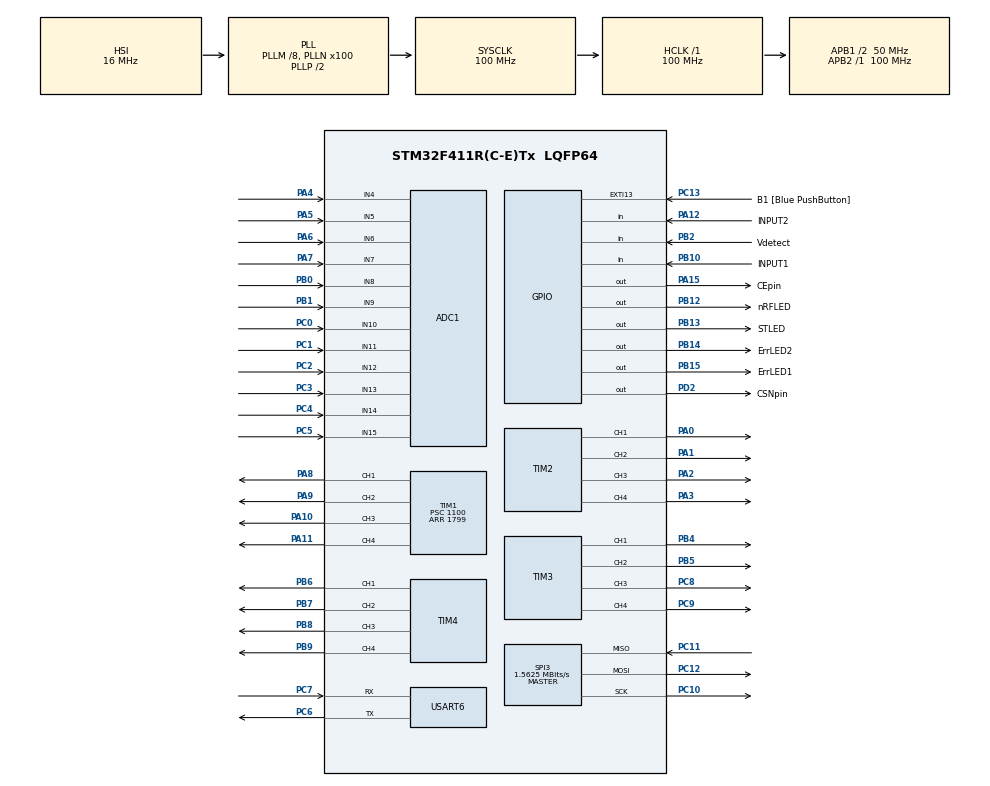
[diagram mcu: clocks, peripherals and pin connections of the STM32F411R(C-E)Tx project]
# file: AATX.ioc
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ADC1.Channel-10\#ChannelRegularConversion=ADC_CHANNEL_11
ADC1.Channel-11\#ChannelRegularConversion=ADC_CHANNEL_12
ADC1.Channel-12\#ChannelRegularConversion=ADC_CHANNEL_13
ADC1.Channel-13\#ChannelRegularConversion=ADC_CHANNEL_14
ADC1.Channel-14\#ChannelRegularConversion=ADC_CHANNEL_15
ADC1.Channel-3\#ChannelRegularConversion=ADC_CHANNEL_4
ADC1.Channel-4\#ChannelRegularConversion=ADC_CHANNEL_5
ADC1.Channel-5\#ChannelRegularConversion=ADC_CHANNEL_6
ADC1.Channel-6\#ChannelRegularConversion=ADC_CHANNEL_7
ADC1.Channel-7\#ChannelRegularConversion=ADC_CHANNEL_8
ADC1.Channel-8\#ChannelRegularConversion=ADC_CHANNEL_9
ADC1.Channel-9\#ChannelRegularConversion=ADC_CHANNEL_10
ADC1.NbrOfConversion=12
ADC1.NbrOfConversionFlag=1
ADC1.Rank-10\#ChannelRegularConversion=8
ADC1.Rank-11\#ChannelRegularConversion=9
ADC1.Rank-12\#ChannelRegularConversion=10
ADC1.Rank-13\#ChannelRegularConversion=11
ADC1.Rank-14\#ChannelRegularConversion=12
ADC1.Rank-3\#ChannelRegularConversion=1
ADC1.Rank-4\#ChannelRegularConversion=2
ADC1.Rank-5\#ChannelRegularConversion=3
ADC1.Rank-6\#ChannelRegularConversion=4
ADC1.Rank-7\#ChannelRegularConversion=5
ADC1.Rank-8\#ChannelRegularConversion=6
ADC1.Rank-9\#ChannelRegularConversion=7
ADC1.SamplingTime-10\#ChannelRegularConversion=ADC_SAMPLETIME_144CYCLES
ADC1.SamplingTime-11\#ChannelRegularConversion=ADC_SAMPLETIME_144CYCLES
ADC1.SamplingTime-12\#ChannelRegularConversion=ADC_SAMPLETIME_144CYCLES
ADC1.SamplingTime-13\#ChannelRegularConversion=ADC_SAMPLETIME_144CYCLES
ADC1.SamplingTime-14\#ChannelRegularConversion=ADC_SAMPLETIME_144CYCLES
ADC1.SamplingTime-3\#ChannelRegularConversion=ADC_SAMPLETIME_144CYCLES
ADC1.SamplingTime-4\#ChannelRegularConversion=ADC_SAMPLETIME_144CYCLES
ADC1.SamplingTime-5\#ChannelRegularConversion=ADC_SAMPLETIME_144CYCLES
ADC1.SamplingTime-6\#ChannelRegularConversion=ADC_SAMPLETIME_144CYCLES
ADC1.SamplingTime-7\#ChannelRegularConversion=ADC_SAMPLETIME_144CYCLES
ADC1.SamplingTime-8\#ChannelRegularConversion=ADC_SAMPLETIME_144CYCLES
ADC1.SamplingTime-9\#ChannelRegularConversion=ADC_SAMPLETIME_144CYCLES
ADC1.master=1
Mcu.Family=STM32F4
Mcu.Name=STM32F411R(C-E)Tx
Mcu.Package=LQFP64
NVIC.PriorityGroup=NVIC_PRIORITYGROUP_4
NVIC.USART6_IRQn=true\:0\:0\:false\:false\:true\:true\:true\:true
PA0-WKUP.Signal=S_TIM2_CH1_ETR
PA1.Signal=S_TIM2_CH2
PA10.Signal=S_TIM1_CH3
PA11.Signal=S_TIM1_CH4
PA12.GPIO_Label=INPUT2
PA12.Signal=GPIO_Input
PA13.GPIO_Label=TMS
PA13.Mode=Serial_Wire
PA13.Signal=SYS_JTMS-SWDIO
PA14.GPIO_Label=TCK
PA14.Mode=Serial_Wire
PA14.Signal=SYS_JTCK-SWCLK
PA15.GPIO_Label=CEpin
PA15.Signal=GPIO_Output
PA2.Signal=S_TIM2_CH3
PA3.Signal=S_TIM2_CH4
PA4.Signal=ADCx_IN4
PA5.Signal=ADCx_IN5
PA6.Signal=ADCx_IN6
PA7.Signal=ADCx_IN7
PA8.Signal=S_TIM1_CH1
PA9.Signal=S_TIM1_CH2
PB0.Signal=ADCx_IN8
PB1.Signal=ADCx_IN9
PB10.GPIO_Label=INPUT1
PB10.Signal=GPIO_Input
PB12.GPIO_Label=nRFLED
PB12.Signal=GPIO_Output
PB13.GPIO_Label=STLED
PB13.Signal=GPIO_Output
PB14.GPIO_Label=ErrLED2
PB14.Signal=GPIO_Output
PB15.GPIO_Label=ErrLED1
PB15.Signal=GPIO_Output
PB2.GPIO_Label=Vdetect
PB2.Signal=GPIO_Input
PB3.GPIO_Label=SWO
PB3.Signal=SYS_JTDO-SWO
PB4.Signal=S_TIM3_CH1
PB5.Signal=S_TIM3_CH2
PB6.Signal=S_TIM4_CH1
PB7.Signal=S_TIM4_CH2
PB8.Signal=S_TIM4_CH3
PB9.Signal=S_TIM4_CH4
PC0.Signal=ADCx_IN10
PC1.Signal=ADCx_IN11
PC10.Mode=Full_Duplex_Master
PC10.Signal=SPI3_SCK
PC11.Mode=Full_Duplex_Master
PC11.Signal=SPI3_MISO
PC12.Mode=Full_Duplex_Master
PC12.Signal=SPI3_MOSI
PC13-ANTI_TAMP.GPIO_Label=B1 [Blue PushButton]
PC13-ANTI_TAMP.GPIO_ModeDefaultEXTI=GPIO_MODE_IT_FALLING
PC13-ANTI_TAMP.Signal=GPXTI13
PC14-OSC32_IN.Mode=LSE-External-Oscillator
PC14-OSC32_IN.Signal=RCC_OSC32_IN
PC15-OSC32_OUT.Mode=LSE-External-Oscillator
PC15-OSC32_OUT.Signal=RCC_OSC32_OUT
PC2.Signal=ADCx_IN12
PC3.Signal=ADCx_IN13
PC4.Signal=ADCx_IN14
PC5.Signal=ADCx_IN15
PC6.Mode=Asynchronous
PC6.Signal=USART6_TX
PC7.Mode=Asynchronous
PC7.Signal=USART6_RX
PC8.Signal=S_TIM3_CH3
PC9.Signal=S_TIM3_CH4
PD2.GPIO_Label=CSNpin
PD2.Signal=GPIO_Output
PH0\ -\ OSC_IN.Mode=HSE-External-Clock-Source
PH0\ -\ OSC_IN.Signal=RCC_OSC_IN
PH1\ -\ OSC_OUT.Mode=HSE-External-Clock-Source
PH1\ -\ OSC_OUT.Signal=RCC_OSC_OUT
ProjectManager.HeapSize=0x200
ProjectManager.StackSize=0x400
ProjectManager.TargetToolchain=STM32CubeIDE
RCC.48MHZClocksFreq_Value=50000000
RCC.AHBFreq_Value=100000000
RCC.APB1CLKDivider=RCC_HCLK_DIV2
RCC.APB1Freq_Value=50000000
RCC.APB1TimFreq_Value=100000000
RCC.APB2Freq_Value=100000000
RCC.APB2TimFreq_Value=100000000
RCC.CortexFreq_Value=100000000
RCC.FLatency-AdvancedSettings=FLASH_LATENCY_3
RCC.HCLKFreq_Value=100000000
RCC.HSE_VALUE=8000000
RCC.HSI_VALUE=16000000
RCC.PLLM=8
RCC.PLLN=100
RCC.SYSCLKFreq_VALUE=100000000
RCC.SYSCLKSource=RCC_SYSCLKSOURCE_PLLCLK
RCC.VCOOutputFreq_Value=200000000
SH.ADCx_IN10.0=ADC1_IN10,IN10
SH.ADCx_IN11.0=ADC1_IN11,IN11
SH.ADCx_IN12.0=ADC1_IN12,IN12
SH.ADCx_IN13.0=ADC1_IN13,IN13
SH.ADCx_IN14.0=ADC1_IN14,IN14
SH.ADCx_IN15.0=ADC1_IN15,IN15
SH.ADCx_IN4.0=ADC1_IN4,IN4
SH.ADCx_IN5.0=ADC1_IN5,IN5
SH.ADCx_IN6.0=ADC1_IN6,IN6
SH.ADCx_IN7.0=ADC1_IN7,IN7
SH.ADCx_IN8.0=ADC1_IN8,IN8
SH.ADCx_IN9.0=ADC1_IN9,IN9
SH.S_TIM1_CH1.0=TIM1_CH1,PWM Generation1 CH1
SH.S_TIM1_CH2.0=TIM1_CH2,PWM Generation2 CH2
SH.S_TIM1_CH3.0=TIM1_CH3,PWM Generation3 CH3
SH.S_TIM1_CH4.0=TIM1_CH4,PWM Generation4 CH4
SH.S_TIM2_CH1_ETR.0=TIM2_CH1,PWM Generation1 CH1
SH.S_TIM2_CH2.0=TIM2_CH2,PWM Generation2 CH2
SH.S_TIM2_CH3.0=TIM2_CH3,PWM Generation3 CH3
SH.S_TIM2_CH4.0=TIM2_CH4,PWM Generation4 CH4
SH.S_TIM3_CH1.0=TIM3_CH1,PWM Generation1 CH1
SH.S_TIM3_CH2.0=TIM3_CH2,PWM Generation2 CH2
SH.S_TIM3_CH3.0=TIM3_CH3,PWM Generation3 CH3
SH.S_TIM3_CH4.0=TIM3_CH4,PWM Generation4 CH4
SH.S_TIM4_CH1.0=TIM4_CH1,PWM Generation1 CH1
SH.S_TIM4_CH2.0=TIM4_CH2,PWM Generation2 CH2
SH.S_TIM4_CH3.0=TIM4_CH3,PWM Generation3 CH3
SH.S_TIM4_CH4.0=TIM4_CH4,PWM Generation4 CH4
SPI3.BaudRatePrescaler=SPI_BAUDRATEPRESCALER_32
SPI3.CalculateBaudRate=1.5625 MBits/s
SPI3.Direction=SPI_DIRECTION_2LINES
SPI3.Mode=SPI_MODE_MASTER
SPI3.VirtualType=VM_MASTER
TIM1.Channel-PWM\ Generation1\ CH1=TIM_CHANNEL_1
TIM1.Channel-PWM\ Generation2\ CH2=TIM_CHANNEL_2
TIM1.Channel-PWM\ Generation3\ CH3=TIM_CHANNEL_3
TIM1.Channel-PWM\ Generation4\ CH4=TIM_CHANNEL_4
TIM1.Period=1799
TIM1.Prescaler=1100
TIM2.Channel-PWM\ Generation1\ CH1=TIM_CHANNEL_1
TIM2.Channel-PWM\ Generation2\ CH2=TIM_CHANNEL_2
TIM2.Channel-PWM\ Generation3\ CH3=TIM_CHANNEL_3
TIM2.Channel-PWM\ Generation4\ CH4=TIM_CHANNEL_4
TIM3.Channel-PWM\ Generation1\ CH1=TIM_CHANNEL_1
TIM3.Channel-PWM\ Generation2\ CH2=TIM_CHANNEL_2
TIM3.Channel-PWM\ Generation3\ CH3=TIM_CHANNEL_3
TIM3.Channel-PWM\ Generation4\ CH4=TIM_CHANNEL_4
TIM4.Channel-PWM\ Generation1\ CH1=TIM_CHANNEL_1
TIM4.Channel-PWM\ Generation2\ CH2=TIM_CHANNEL_2
TIM4.Channel-PWM\ Generation3\ CH3=TIM_CHANNEL_3
TIM4.Channel-PWM\ Generation4\ CH4=TIM_CHANNEL_4
USART6.VirtualMode=VM_ASYNC
board=NUCLEO-F411RE

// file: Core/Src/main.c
/* USER CODE BEGIN Header */
/**
  ******************************************************************************
  * @file           : main.c
  * @brief          : Main program body
  ******************************************************************************
  * @attention
  *
  * Copyright (c) 2022 STMicroelectronics.
  * All rights reserved.
  *
  * This software is licensed under terms that can be found in the LICENSE file
  * in the root directory of this software component.
  * If no LICENSE file comes with this software, it is provided AS-IS.
  *
  ******************************************************************************
  */
/* USER CODE END Header */
#include "main.h"

/* USER CODE BEGIN Includes */
#include "MY_NRF24.h"
#include "stdio.h"

/* USER CODE END Includes */

/* USER CODE BEGIN PTD */

 //uint8_t DEGER[1];
//uint8_t PAYLOAD[1];
/* USER CODE END PTD */

/* USER CODE BEGIN PD */
float IIR_FILTER_CH4(float NewSample);
float IIR_FILTER_CH5(float NewSample);
float IIR_FILTER_CH6(float NewSample);
float IIR_FILTER_CH7(float NewSample);
float IIR_FILTER_CH8(float NewSample);
float IIR_FILTER_CH9(float NewSample);
float IIR_FILTER_CH10(float NewSample);
float IIR_FILTER_CH11(float NewSample);
float IIR_FILTER_CH12(float NewSample);
float IIR_FILTER_CH13(float NewSample);
float IIR_FILTER_CH14(float NewSample);
float IIR_FILTER_CH15(float NewSample);

uint64_t TxpipeAddrs = 0x11223344AA;
uint8_t FILTERED_PWM[12];
uint8_t ADC_DEGER[20];
char AckPayload[32];

struct package
  {
    uint8_t POT_1 ;
    uint8_t POT_2;
    uint8_t POT_3;
    uint8_t POT_4;
    uint8_t POT_5;
    uint8_t POT_6;
    uint8_t POT_7;
    uint8_t POT_8;
    uint8_t POT_9;
    uint8_t POT_10;
    uint8_t POT_11;
    uint8_t POT_12;
    uint8_t POT_13;
    uint8_t VOLTAGE;
    uint8_t OVERWRITE;
  };
typedef struct package Package;
Package data;
/* USER CODE END PD */

ADC_HandleTypeDef hadc1;

SPI_HandleTypeDef hspi3;

TIM_HandleTypeDef htim1;
TIM_HandleTypeDef htim2;
TIM_HandleTypeDef htim3;
TIM_HandleTypeDef htim4;

UART_HandleTypeDef huart6;

void SystemClock_Config(void);
static void MX_GPIO_Init(void);
static void MX_ADC1_Init(void);
static void MX_SPI3_Init(void);
static void MX_TIM1_Init(void);
static void MX_TIM2_Init(void);
static void MX_TIM3_Init(void);
static void MX_TIM4_Init(void);
static void MX_USART6_UART_Init(void);

/* USER CODE BEGIN 0 */
ADC_ChannelConfTypeDef sConfigPrivate = {0};

void ADC_Select_CH4 (void)
{
	ADC_ChannelConfTypeDef sConfig = {0};
	  /** Configure for the selected ADC regular channel its corresponding rank in the sequencer and its sample time.
	  */
	  sConfig.Channel = ADC_CHANNEL_4;
	  sConfig.Rank = 1;
	  sConfig.SamplingTime = ADC_SAMPLETIME_144CYCLES;
	  if (HAL_ADC_ConfigChannel(&hadc1, &sConfig) != HAL_OK)
	  {
	    Error_Handler();
	  }
}

void ADC_Select_CH5 (void)
{
	ADC_ChannelConfTypeDef sConfig = {0};
	  /** Configure for the selected ADC regular channel its corresponding rank in the sequencer and its sample time.
	  */
	  sConfig.Channel = ADC_CHANNEL_5;
	  sConfig.Rank = 1;
	  sConfig.SamplingTime = ADC_SAMPLETIME_144CYCLES;
	  if (HAL_ADC_ConfigChannel(&hadc1, &sConfig) != HAL_OK)
	  {
	    Error_Handler();
	  }
}
void ADC_Select_CH6 (void)
{
	ADC_ChannelConfTypeDef sConfig = {0};
	  /** Configure for the selected ADC regular channel its corresponding rank in the sequencer and its sample time.
	  */
	  sConfig.Channel = ADC_CHANNEL_6;
	  sConfig.Rank = 1;
	  sConfig.SamplingTime = ADC_SAMPLETIME_144CYCLES;
	  if (HAL_ADC_ConfigChannel(&hadc1, &sConfig) != HAL_OK)
	  {
	    Error_Handler();
	  }
}
void ADC_Select_CH7 (void)
{
	ADC_ChannelConfTypeDef sConfig = {0};
	  /** Configure for the selected ADC regular channel its corresponding rank in the sequencer and its sample time.
	  */
	  sConfig.Channel = ADC_CHANNEL_7;
	  sConfig.Rank = 1;
	  sConfig.SamplingTime = ADC_SAMPLETIME_144CYCLES;
	  if (HAL_ADC_ConfigChannel(&hadc1, &sConfig) != HAL_OK)
	  {
	    Error_Handler();
	  }
}
void ADC_Select_CH8 (void)
{
	ADC_ChannelConfTypeDef sConfig = {0};
	  /** Configure for the selected ADC regular channel its corresponding rank in the sequencer and its sample time.
	  */
	  sConfig.Channel = ADC_CHANNEL_8;
	  sConfig.Rank = 1;
	  sConfig.SamplingTime = ADC_SAMPLETIME_144CYCLES;
	  if (HAL_ADC_ConfigChannel(&hadc1, &sConfig) != HAL_OK)
	  {
	    Error_Handler();
	  }
}

void ADC_Select_CH9 (void)
{
	ADC_ChannelConfTypeDef sConfig = {0};
	  /** Configure for the selected ADC regular channel its corresponding rank in the sequencer and its sample time.
	  */
	  sConfig.Channel = ADC_CHANNEL_9;
	  sConfig.Rank = 1;
	  sConfig.SamplingTime = ADC_SAMPLETIME_144CYCLES;
	  if (HAL_ADC_ConfigChannel(&hadc1, &sConfig) != HAL_OK)
	  {
	    Error_Handler();
	  }
}
void ADC_Select_CH10 (void)
{
	ADC_ChannelConfTypeDef sConfig = {0};
	  /** Configure for the selected ADC regular channel its corresponding rank in the sequencer and its sample time.
	  */
	  sConfig.Channel = ADC_CHANNEL_10;
	  sConfig.Rank = 1;
	  sConfig.SamplingTime = ADC_SAMPLETIME_144CYCLES;
	  if (HAL_ADC_ConfigChannel(&hadc1, &sConfig) != HAL_OK)
	  {
	    Error_Handler();
	  }
}
void ADC_Select_CH11 (void)
{
	ADC_ChannelConfTypeDef sConfig = {0};
	  /** Configure for the selected ADC regular channel its corresponding rank in the sequencer and its sample time.
	  */
	  sConfig.Channel = ADC_CHANNEL_11;
	  sConfig.Rank = 1;
	  sConfig.SamplingTime = ADC_SAMPLETIME_144CYCLES;
	  if (HAL_ADC_ConfigChannel(&hadc1, &sConfig) != HAL_OK)
	  {
	    Error_Handler();
	  }
}
void ADC_Select_CH12 (void)
{
	ADC_ChannelConfTypeDef sConfig = {0};
	  /** Configure for the selected ADC regular channel its corresponding rank in the sequencer and its sample time.
	  */
	  sConfig.Channel = ADC_CHANNEL_12;
	  sConfig.Rank = 1;
	  sConfig.SamplingTime = ADC_SAMPLETIME_144CYCLES;
	  if (HAL_ADC_ConfigChannel(&hadc1, &sConfig) != HAL_OK)
	  {
	    Error_Handler();
	  }
}
void ADC_Select_CH13 (void)
{
	ADC_ChannelConfTypeDef sConfig = {0};
	  /** Configure for the selected ADC regular channel its corresponding rank in the sequencer and its sample time.
	  */
	  sConfig.Channel = ADC_CHANNEL_13;
	  sConfig.Rank = 1;
	  sConfig.SamplingTime = ADC_SAMPLETIME_144CYCLES;
	  if (HAL_ADC_ConfigChannel(&hadc1, &sConfig) != HAL_OK)
	  {
	    Error_Handler();
	  }
}
void ADC_Select_CH14 (void)
{
	ADC_ChannelConfTypeDef sConfig = {0};
	  /** Configure for the selected ADC regular channel its corresponding rank in the sequencer and its sample time.
	  */
	  sConfig.Channel = ADC_CHANNEL_14;
	  sConfig.Rank = 1;
	  sConfig.SamplingTime = ADC_SAMPLETIME_144CYCLES;
	  if (HAL_ADC_ConfigChannel(&hadc1, &sConfig) != HAL_OK)
	  {
	    Error_Handler();
	  }
}
void ADC_Select_CH15 (void)
{
	ADC_ChannelConfTypeDef sConfig = {0};
	  /** Configure for the selected ADC regular channel its corresponding rank in the sequencer and its sample time.
	  */
	  sConfig.Channel = ADC_CHANNEL_15;
	  sConfig.Rank = 1;
	  sConfig.SamplingTime = ADC_SAMPLETIME_144CYCLES;
	  if (HAL_ADC_ConfigChannel(&hadc1, &sConfig) != HAL_OK)
	  {
	    Error_Handler();
	  }
}
void Read_Adc(){

		  ADC_Select_CH4();
		  HAL_ADC_Start(&hadc1);
		  HAL_ADC_PollForConversion(&hadc1, 1000);
		  data.POT_1 = HAL_ADC_GetValue(&hadc1) / 17;
		  HAL_ADC_Stop(&hadc1);

		  ADC_Select_CH5();
		  HAL_ADC_Start(&hadc1);
		  HAL_ADC_PollForConversion(&hadc1, 1000);
		  data.POT_2 = HAL_ADC_GetValue(&hadc1) /17;
		  HAL_ADC_Stop(&hadc1);

		  ADC_Select_CH6();
		  HAL_ADC_Start(&hadc1);
		  HAL_ADC_PollForConversion(&hadc1, 1000);
		  data.POT_3 = HAL_ADC_GetValue(&hadc1) / 17;
		  HAL_ADC_Stop(&hadc1);

		  ADC_Select_CH7();
		  HAL_ADC_Start(&hadc1);
		  HAL_ADC_PollForConversion(&hadc1, 1000);
		  data.POT_4 = HAL_ADC_GetValue(&hadc1) / 17;
		  HAL_ADC_Stop(&hadc1);

		  ADC_Select_CH8();
		  HAL_ADC_Start(&hadc1);
		  HAL_ADC_PollForConversion(&hadc1, 1000);
		  data.POT_5 = HAL_ADC_GetValue(&hadc1) / 17;
		  HAL_ADC_Stop(&hadc1);

		  ADC_Select_CH9();
		  HAL_ADC_Start(&hadc1);
		  HAL_ADC_PollForConversion(&hadc1, 1000);
		  data.POT_6 = HAL_ADC_GetValue(&hadc1) / 17;
		  HAL_ADC_Stop(&hadc1);

		  ADC_Select_CH10();
		  HAL_ADC_Start(&hadc1);
		  HAL_ADC_PollForConversion(&hadc1, 1000);
		  data.POT_7 = HAL_ADC_GetValue(&hadc1) / 17;
		  HAL_ADC_Stop(&hadc1);

		  ADC_Select_CH11();
		  HAL_ADC_Start(&hadc1);
		  HAL_ADC_PollForConversion(&hadc1, 1000);
		  data.POT_8 = HAL_ADC_GetValue(&hadc1) / 17;
		  HAL_ADC_Stop(&hadc1);

		  ADC_Select_CH12();
		  HAL_ADC_Start(&hadc1);
		  HAL_ADC_PollForConversion(&hadc1, 1000);
		  data.POT_9 = HAL_ADC_GetValue(&hadc1) / 17;
		  HAL_ADC_Stop(&hadc1);

		  ADC_Select_CH13();
		  HAL_ADC_Start(&hadc1);
		  HAL_ADC_PollForConversion(&hadc1, 1000);
		  data.POT_10 = HAL_ADC_GetValue(&hadc1) / 17;
		  HAL_ADC_Stop(&hadc1);

		  ADC_Select_CH14();
		  HAL_ADC_Start(&hadc1);
		  HAL_ADC_PollForConversion(&hadc1, 1000);
		  data.POT_11 = HAL_ADC_GetValue(&hadc1) / 17;
		  HAL_ADC_Stop(&hadc1);

		  ADC_Select_CH15();
		  HAL_ADC_Start(&hadc1);
		  HAL_ADC_PollForConversion(&hadc1, 1000);
		  data.POT_12 = HAL_ADC_GetValue(&hadc1) / 17;
		  HAL_ADC_Stop(&hadc1);

		  }

void Compute_PWM(){
	memcpy(ADC_DEGER,&data,12);
	FILTERED_PWM[0] = IIR_FILTER_CH4(ADC_DEGER[0]);
	FILTERED_PWM[1] = IIR_FILTER_CH5(ADC_DEGER[1]);
	FILTERED_PWM[2] = IIR_FILTER_CH6(ADC_DEGER[2]);
	FILTERED_PWM[3] = IIR_FILTER_CH7(ADC_DEGER[3]);
	FILTERED_PWM[4] = IIR_FILTER_CH8(ADC_DEGER[4]);
	FILTERED_PWM[5] = IIR_FILTER_CH9(ADC_DEGER[5]);
	FILTERED_PWM[6] = IIR_FILTER_CH10(ADC_DEGER[6]);
	FILTERED_PWM[7] = IIR_FILTER_CH11(ADC_DEGER[7]);
	FILTERED_PWM[8] = IIR_FILTER_CH12(ADC_DEGER[8]);
	FILTERED_PWM[9] = IIR_FILTER_CH13(ADC_DEGER[9]);
	FILTERED_PWM[10]= IIR_FILTER_CH14(ADC_DEGER[10]);
	FILTERED_PWM[11]= IIR_FILTER_CH15(ADC_DEGER[11]);
	for(int i = 0 ; i<=11 ; i++){
	if( FILTERED_PWM[i] <= 33){
		FILTERED_PWM[i] = 33;
		}
	if(FILTERED_PWM[i] >= 220){
		FILTERED_PWM[i] = 220;
	}
}

	__HAL_TIM_SET_COMPARE(&htim1, TIM_CHANNEL_2, FILTERED_PWM[1]);
	HAL_Delay(10);

}

/* USER CODE END 0 */

int main(void)
{

  /* MCU Configuration--------------------------------------------------------*/

  /* Reset of all peripherals, Initializes the Flash interface and the Systick. */
  HAL_Init();

  /* Configure the system clock */
  SystemClock_Config();

  /* Initialize all configured peripherals */
  MX_GPIO_Init();
  MX_ADC1_Init();
  MX_SPI3_Init();
  MX_TIM1_Init();
  MX_TIM2_Init();
  MX_TIM3_Init();
  MX_TIM4_Init();
  MX_USART6_UART_Init();
  /* USER CODE BEGIN 2 */
  HAL_ADC_Start(&hadc1);
  HAL_TIM_PWM_Start(&htim1,TIM_CHANNEL_1);
  HAL_TIM_PWM_Start(&htim1,TIM_CHANNEL_2);
  //HAL_ADC_Start_DMA(&hadc1,ADC_DEGER,1);

  	//**** TRANSMIT - ACK ****//
  	NRF24_begin(GPIOD, CSNpin_Pin, CEpin_Pin, hspi3);
  	NRF24_stopListening();
  	NRF24_openWritingPipe(TxpipeAddrs);
  	NRF24_setAutoAck(true);
  	NRF24_setChannel(52);
  	NRF24_setPayloadSize(32);
  	NRF24_enableDynamicPayloads();
  	NRF24_enableAckPayload();
  /* USER CODE END 2 */

  /* Infinite loop */
  while (1)
  {

    /* USER CODE BEGIN 3 */
	  Read_Adc();
	  if(NRF24_write(&data,sizeof(data)))
	  	    {
	  			NRF24_read(AckPayload, 32);
	  		}
	  Compute_PWM();

	  HAL_Delay(1);
  }
  /* USER CODE END 3 */
}

void SystemClock_Config(void)
{
  RCC_OscInitTypeDef RCC_OscInitStruct = {0};
  RCC_ClkInitTypeDef RCC_ClkInitStruct = {0};

  /** Configure the main internal regulator output voltage
  */
  __HAL_RCC_PWR_CLK_ENABLE();
  __HAL_PWR_VOLTAGESCALING_CONFIG(PWR_REGULATOR_VOLTAGE_SCALE1);

  /** Initializes the RCC Oscillators according to the specified parameters
  * in the RCC_OscInitTypeDef structure.
  */
  RCC_OscInitStruct.OscillatorType = RCC_OSCILLATORTYPE_HSI;
  RCC_OscInitStruct.HSIState = RCC_HSI_ON;
  RCC_OscInitStruct.HSICalibrationValue = RCC_HSICALIBRATION_DEFAULT;
  RCC_OscInitStruct.PLL.PLLState = RCC_PLL_ON;
  RCC_OscInitStruct.PLL.PLLSource = RCC_PLLSOURCE_HSI;
  RCC_OscInitStruct.PLL.PLLM = 8;
  RCC_OscInitStruct.PLL.PLLN = 100;
  RCC_OscInitStruct.PLL.PLLP = RCC_PLLP_DIV2;
  RCC_OscInitStruct.PLL.PLLQ = 4;
  if (HAL_RCC_OscConfig(&RCC_OscInitStruct) != HAL_OK)
  {
    Error_Handler();
  }

  /** Initializes the CPU, AHB and APB buses clocks
  */
  RCC_ClkInitStruct.ClockType = RCC_CLOCKTYPE_HCLK|RCC_CLOCKTYPE_SYSCLK
                              |RCC_CLOCKTYPE_PCLK1|RCC_CLOCKTYPE_PCLK2;
  RCC_ClkInitStruct.SYSCLKSource = RCC_SYSCLKSOURCE_PLLCLK;
  RCC_ClkInitStruct.AHBCLKDivider = RCC_SYSCLK_DIV1;
  RCC_ClkInitStruct.APB1CLKDivider = RCC_HCLK_DIV2;
  RCC_ClkInitStruct.APB2CLKDivider = RCC_HCLK_DIV1;

  if (HAL_RCC_ClockConfig(&RCC_ClkInitStruct, FLASH_LATENCY_3) != HAL_OK)
  {
    Error_Handler();
  }
}

static void MX_ADC1_Init(void)
{

  ADC_ChannelConfTypeDef sConfig = {0};

  /** Configure the global features of the ADC (Clock, Resolution, Data Alignment and number of conversion)
  */
  hadc1.Instance = ADC1;
  hadc1.Init.ClockPrescaler = ADC_CLOCK_SYNC_PCLK_DIV4;
  hadc1.Init.Resolution = ADC_RESOLUTION_12B;
  hadc1.Init.ScanConvMode = ENABLE;
  hadc1.Init.ContinuousConvMode = DISABLE;
  hadc1.Init.DiscontinuousConvMode = DISABLE;
  hadc1.Init.ExternalTrigConvEdge = ADC_EXTERNALTRIGCONVEDGE_NONE;
  hadc1.Init.ExternalTrigConv = ADC_SOFTWARE_START;
  hadc1.Init.DataAlign = ADC_DATAALIGN_RIGHT;
  hadc1.Init.NbrOfConversion = 12;
  hadc1.Init.DMAContinuousRequests = DISABLE;
  hadc1.Init.EOCSelection = ADC_EOC_SINGLE_CONV;
  if (HAL_ADC_Init(&hadc1) != HAL_OK)
  {
    Error_Handler();
  }

  /** Configure for the selected ADC regular channel its corresponding rank in the sequencer and its sample time.
  */
  sConfig.Channel = ADC_CHANNEL_4;
  sConfig.Rank = 1;
  sConfig.SamplingTime = ADC_SAMPLETIME_144CYCLES;
  if (HAL_ADC_ConfigChannel(&hadc1, &sConfig) != HAL_OK)
  {
    Error_Handler();
  }

  /** Configure for the selected ADC regular channel its corresponding rank in the sequencer and its sample time.
  */
  sConfig.Channel = ADC_CHANNEL_5;
  sConfig.Rank = 2;
  if (HAL_ADC_ConfigChannel(&hadc1, &sConfig) != HAL_OK)
  {
    Error_Handler();
  }

  /** Configure for the selected ADC regular channel its corresponding rank in the sequencer and its sample time.
  */
  sConfig.Channel = ADC_CHANNEL_6;
  sConfig.Rank = 3;
  if (HAL_ADC_ConfigChannel(&hadc1, &sConfig) != HAL_OK)
  {
    Error_Handler();
  }

  /** Configure for the selected ADC regular channel its corresponding rank in the sequencer and its sample time.
  */
  sConfig.Channel = ADC_CHANNEL_7;
  sConfig.Rank = 4;
  if (HAL_ADC_ConfigChannel(&hadc1, &sConfig) != HAL_OK)
  {
    Error_Handler();
  }

  /** Configure for the selected ADC regular channel its corresponding rank in the sequencer and its sample time.
  */
  sConfig.Channel = ADC_CHANNEL_8;
  sConfig.Rank = 5;
  if (HAL_ADC_ConfigChannel(&hadc1, &sConfig) != HAL_OK)
  {
    Error_Handler();
  }

  /** Configure for the selected ADC regular channel its corresponding rank in the sequencer and its sample time.
  */
  sConfig.Channel = ADC_CHANNEL_9;
  sConfig.Rank = 6;
  if (HAL_ADC_ConfigChannel(&hadc1, &sConfig) != HAL_OK)
  {
    Error_Handler();
  }

  /** Configure for the selected ADC regular channel its corresponding rank in the sequencer and its sample time.
  */
  sConfig.Channel = ADC_CHANNEL_10;
  sConfig.Rank = 7;
  if (HAL_ADC_ConfigChannel(&hadc1, &sConfig) != HAL_OK)
  {
    Error_Handler();
  }

  /** Configure for the selected ADC regular channel its corresponding rank in the sequencer and its sample time.
  */
  sConfig.Channel = ADC_CHANNEL_11;
  sConfig.Rank = 8;
  if (HAL_ADC_ConfigChannel(&hadc1, &sConfig) != HAL_OK)
  {
    Error_Handler();
  }

  /** Configure for the selected ADC regular channel its corresponding rank in the sequencer and its sample time.
  */
  sConfig.Channel = ADC_CHANNEL_12;
  sConfig.Rank = 9;
  if (HAL_ADC_ConfigChannel(&hadc1, &sConfig) != HAL_OK)
  {
    Error_Handler();
  }

  /** Configure for the selected ADC regular channel its corresponding rank in the sequencer and its sample time.
  */
  sConfig.Channel = ADC_CHANNEL_13;
  sConfig.Rank = 10;
  if (HAL_ADC_ConfigChannel(&hadc1, &sConfig) != HAL_OK)
  {
    Error_Handler();
  }

  /** Configure for the selected ADC regular channel its corresponding rank in the sequencer and its sample time.
  */
  sConfig.Channel = ADC_CHANNEL_14;
  sConfig.Rank = 11;
  if (HAL_ADC_ConfigChannel(&hadc1, &sConfig) != HAL_OK)
  {
    Error_Handler();
  }

  /** Configure for the selected ADC regular channel its corresponding rank in the sequencer and its sample time.
  */
  sConfig.Channel = ADC_CHANNEL_15;
  sConfig.Rank = 12;
  if (HAL_ADC_ConfigChannel(&hadc1, &sConfig) != HAL_OK)
  {
    Error_Handler();
  }

}

static void MX_SPI3_Init(void)
{

  /* SPI3 parameter configuration*/
  hspi3.Instance = SPI3;
  hspi3.Init.Mode = SPI_MODE_MASTER;
  hspi3.Init.Direction = SPI_DIRECTION_2LINES;
  hspi3.Init.DataSize = SPI_DATASIZE_8BIT;
  hspi3.Init.CLKPolarity = SPI_POLARITY_LOW;
  hspi3.Init.CLKPhase = SPI_PHASE_1EDGE;
  hspi3.Init.NSS = SPI_NSS_SOFT;
  hspi3.Init.BaudRatePrescaler = SPI_BAUDRATEPRESCALER_32;
  hspi3.Init.FirstBit = SPI_FIRSTBIT_MSB;
  hspi3.Init.TIMode = SPI_TIMODE_DISABLE;
  hspi3.Init.CRCCalculation = SPI_CRCCALCULATION_DISABLE;
  hspi3.Init.CRCPolynomial = 10;
  if (HAL_SPI_Init(&hspi3) != HAL_OK)
  {
    Error_Handler();
  }

}

static void MX_TIM1_Init(void)
{

  TIM_MasterConfigTypeDef sMasterConfig = {0};
  TIM_OC_InitTypeDef sConfigOC = {0};
  TIM_BreakDeadTimeConfigTypeDef sBreakDeadTimeConfig = {0};

  htim1.Instance = TIM1;
  htim1.Init.Prescaler = 1100;
  htim1.Init.CounterMode = TIM_COUNTERMODE_UP;
  htim1.Init.Period = 1799;
  htim1.Init.ClockDivision = TIM_CLOCKDIVISION_DIV1;
  htim1.Init.RepetitionCounter = 0;
  htim1.Init.AutoReloadPreload = TIM_AUTORELOAD_PRELOAD_DISABLE;
  if (HAL_TIM_PWM_Init(&htim1) != HAL_OK)
  {
    Error_Handler();
  }
  sMasterConfig.MasterOutputTrigger = TIM_TRGO_RESET;
  sMasterConfig.MasterSlaveMode = TIM_MASTERSLAVEMODE_DISABLE;
  if (HAL_TIMEx_MasterConfigSynchronization(&htim1, &sMasterConfig) != HAL_OK)
  {
    Error_Handler();
  }
  sConfigOC.OCMode = TIM_OCMODE_PWM1;
  sConfigOC.Pulse = 0;
  sConfigOC.OCPolarity = TIM_OCPOLARITY_HIGH;
  sConfigOC.OCNPolarity = TIM_OCNPOLARITY_HIGH;
  sConfigOC.OCFastMode = TIM_OCFAST_DISABLE;
  sConfigOC.OCIdleState = TIM_OCIDLESTATE_RESET;
  sConfigOC.OCNIdleState = TIM_OCNIDLESTATE_RESET;
  if (HAL_TIM_PWM_ConfigChannel(&htim1, &sConfigOC, TIM_CHANNEL_1) != HAL_OK)
  {
    Error_Handler();
  }
  if (HAL_TIM_PWM_ConfigChannel(&htim1, &sConfigOC, TIM_CHANNEL_2) != HAL_OK)
  {
    Error_Handler();
  }
  if (HAL_TIM_PWM_ConfigChannel(&htim1, &sConfigOC, TIM_CHANNEL_3) != HAL_OK)
  {
    Error_Handler();
  }
  if (HAL_TIM_PWM_ConfigChannel(&htim1, &sConfigOC, TIM_CHANNEL_4) != HAL_OK)
  {
    Error_Handler();
  }
  sBreakDeadTimeConfig.OffStateRunMode = TIM_OSSR_DISABLE;
  sBreakDeadTimeConfig.OffStateIDLEMode = TIM_OSSI_DISABLE;
  sBreakDeadTimeConfig.LockLevel = TIM_LOCKLEVEL_OFF;
  sBreakDeadTimeConfig.DeadTime = 0;
  sBreakDeadTimeConfig.BreakState = TIM_BREAK_DISABLE;
  sBreakDeadTimeConfig.BreakPolarity = TIM_BREAKPOLARITY_HIGH;
  sBreakDeadTimeConfig.AutomaticOutput = TIM_AUTOMATICOUTPUT_DISABLE;
  if (HAL_TIMEx_ConfigBreakDeadTime(&htim1, &sBreakDeadTimeConfig) != HAL_OK)
  {
    Error_Handler();
  }
  HAL_TIM_MspPostInit(&htim1);

}

static void MX_TIM2_Init(void)
{

  TIM_MasterConfigTypeDef sMasterConfig = {0};
  TIM_OC_InitTypeDef sConfigOC = {0};

  htim2.Instance = TIM2;
  htim2.Init.Prescaler = 0;
  htim2.Init.CounterMode = TIM_COUNTERMODE_UP;
  htim2.Init.Period = 4294967295;
  htim2.Init.ClockDivision = TIM_CLOCKDIVISION_DIV1;
  htim2.Init.AutoReloadPreload = TIM_AUTORELOAD_PRELOAD_DISABLE;
  if (HAL_TIM_PWM_Init(&htim2) != HAL_OK)
  {
    Error_Handler();
  }
  sMasterConfig.MasterOutputTrigger = TIM_TRGO_RESET;
  sMasterConfig.MasterSlaveMode = TIM_MASTERSLAVEMODE_DISABLE;
  if (HAL_TIMEx_MasterConfigSynchronization(&htim2, &sMasterConfig) != HAL_OK)
  {
    Error_Handler();
  }
  sConfigOC.OCMode = TIM_OCMODE_PWM1;
  sConfigOC.Pulse = 0;
  sConfigOC.OCPolarity = TIM_OCPOLARITY_HIGH;
  sConfigOC.OCFastMode = TIM_OCFAST_DISABLE;
  if (HAL_TIM_PWM_ConfigChannel(&htim2, &sConfigOC, TIM_CHANNEL_1) != HAL_OK)
  {
    Error_Handler();
  }
  if (HAL_TIM_PWM_ConfigChannel(&htim2, &sConfigOC, TIM_CHANNEL_2) != HAL_OK)
  {
    Error_Handler();
  }
  if (HAL_TIM_PWM_ConfigChannel(&htim2, &sConfigOC, TIM_CHANNEL_3) != HAL_OK)
  {
    Error_Handler();
  }
  if (HAL_TIM_PWM_ConfigChannel(&htim2, &sConfigOC, TIM_CHANNEL_4) != HAL_OK)
  {
    Error_Handler();
  }
  HAL_TIM_MspPostInit(&htim2);

}

static void MX_TIM3_Init(void)
{

  TIM_MasterConfigTypeDef sMasterConfig = {0};
  TIM_OC_InitTypeDef sConfigOC = {0};

  htim3.Instance = TIM3;
  htim3.Init.Prescaler = 0;
  htim3.Init.CounterMode = TIM_COUNTERMODE_UP;
  htim3.Init.Period = 65535;
  htim3.Init.ClockDivision = TIM_CLOCKDIVISION_DIV1;
  htim3.Init.AutoReloadPreload = TIM_AUTORELOAD_PRELOAD_DISABLE;
  if (HAL_TIM_PWM_Init(&htim3) != HAL_OK)
  {
    Error_Handler();
  }
  sMasterConfig.MasterOutputTrigger = TIM_TRGO_RESET;
  sMasterConfig.MasterSlaveMode = TIM_MASTERSLAVEMODE_DISABLE;
  if (HAL_TIMEx_MasterConfigSynchronization(&htim3, &sMasterConfig) != HAL_OK)
  {
    Error_Handler();
  }
  sConfigOC.OCMode = TIM_OCMODE_PWM1;
  sConfigOC.Pulse = 0;
  sConfigOC.OCPolarity = TIM_OCPOLARITY_HIGH;
  sConfigOC.OCFastMode = TIM_OCFAST_DISABLE;
  if (HAL_TIM_PWM_ConfigChannel(&htim3, &sConfigOC, TIM_CHANNEL_1) != HAL_OK)
  {
    Error_Handler();
  }
  if (HAL_TIM_PWM_ConfigChannel(&htim3, &sConfigOC, TIM_CHANNEL_2) != HAL_OK)
  {
    Error_Handler();
  }
  if (HAL_TIM_PWM_ConfigChannel(&htim3, &sConfigOC, TIM_CHANNEL_3) != HAL_OK)
  {
    Error_Handler();
  }
  if (HAL_TIM_PWM_ConfigChannel(&htim3, &sConfigOC, TIM_CHANNEL_4) != HAL_OK)
  {
    Error_Handler();
  }
  HAL_TIM_MspPostInit(&htim3);

}

static void MX_TIM4_Init(void)
{

  TIM_MasterConfigTypeDef sMasterConfig = {0};
  TIM_OC_InitTypeDef sConfigOC = {0};

  htim4.Instance = TIM4;
  htim4.Init.Prescaler = 0;
  htim4.Init.CounterMode = TIM_COUNTERMODE_UP;
  htim4.Init.Period = 65535;
  htim4.Init.ClockDivision = TIM_CLOCKDIVISION_DIV1;
  htim4.Init.AutoReloadPreload = TIM_AUTORELOAD_PRELOAD_DISABLE;
  if (HAL_TIM_PWM_Init(&htim4) != HAL_OK)
  {
    Error_Handler();
  }
  sMasterConfig.MasterOutputTrigger = TIM_TRGO_RESET;
  sMasterConfig.MasterSlaveMode = TIM_MASTERSLAVEMODE_DISABLE;
  if (HAL_TIMEx_MasterConfigSynchronization(&htim4, &sMasterConfig) != HAL_OK)
  {
    Error_Handler();
  }
  sConfigOC.OCMode = TIM_OCMODE_PWM1;
  sConfigOC.Pulse = 0;
  sConfigOC.OCPolarity = TIM_OCPOLARITY_HIGH;
  sConfigOC.OCFastMode = TIM_OCFAST_DISABLE;
  if (HAL_TIM_PWM_ConfigChannel(&htim4, &sConfigOC, TIM_CHANNEL_1) != HAL_OK)
  {
    Error_Handler();
  }
  if (HAL_TIM_PWM_ConfigChannel(&htim4, &sConfigOC, TIM_CHANNEL_2) != HAL_OK)
  {
    Error_Handler();
  }
  if (HAL_TIM_PWM_ConfigChannel(&htim4, &sConfigOC, TIM_CHANNEL_3) != HAL_OK)
  {
    Error_Handler();
  }
  if (HAL_TIM_PWM_ConfigChannel(&htim4, &sConfigOC, TIM_CHANNEL_4) != HAL_OK)
  {
    Error_Handler();
  }
  HAL_TIM_MspPostInit(&htim4);

}

static void MX_USART6_UART_Init(void)
{

  huart6.Instance = USART6;
  huart6.Init.BaudRate = 115200;
  huart6.Init.WordLength = UART_WORDLENGTH_8B;
  huart6.Init.StopBits = UART_STOPBITS_1;
  huart6.Init.Parity = UART_PARITY_NONE;
  huart6.Init.Mode = UART_MODE_TX_RX;
  huart6.Init.HwFlowCtl = UART_HWCONTROL_NONE;
  huart6.Init.OverSampling = UART_OVERSAMPLING_16;
  if (HAL_UART_Init(&huart6) != HAL_OK)
  {
    Error_Handler();
  }

}

static void MX_GPIO_Init(void)
{
  GPIO_InitTypeDef GPIO_InitStruct = {0};

  /* GPIO Ports Clock Enable */
  __HAL_RCC_GPIOC_CLK_ENABLE();
  __HAL_RCC_GPIOH_CLK_ENABLE();
  __HAL_RCC_GPIOA_CLK_ENABLE();
  __HAL_RCC_GPIOB_CLK_ENABLE();
  __HAL_RCC_GPIOD_CLK_ENABLE();

  /*Configure GPIO pin Output Level */
  HAL_GPIO_WritePin(GPIOB, nRFLED_Pin|STLED_Pin|ErrLED2_Pin|ErrLED1_Pin, GPIO_PIN_RESET);

  /*Configure GPIO pin Output Level */
  HAL_GPIO_WritePin(CEpin_GPIO_Port, CEpin_Pin, GPIO_PIN_RESET);

  /*Configure GPIO pin Output Level */
  HAL_GPIO_WritePin(CSNpin_GPIO_Port, CSNpin_Pin, GPIO_PIN_RESET);

  /*Configure GPIO pin : B1_Pin */
  GPIO_InitStruct.Pin = B1_Pin;
  GPIO_InitStruct.Mode = GPIO_MODE_IT_FALLING;
  GPIO_InitStruct.Pull = GPIO_NOPULL;
  HAL_GPIO_Init(B1_GPIO_Port, &GPIO_InitStruct);

  /*Configure GPIO pins : Vdetect_Pin INPUT1_Pin */
  GPIO_InitStruct.Pin = Vdetect_Pin|INPUT1_Pin;
  GPIO_InitStruct.Mode = GPIO_MODE_INPUT;
  GPIO_InitStruct.Pull = GPIO_NOPULL;
  HAL_GPIO_Init(GPIOB, &GPIO_InitStruct);

  /*Configure GPIO pins : nRFLED_Pin STLED_Pin ErrLED2_Pin ErrLED1_Pin */
  GPIO_InitStruct.Pin = nRFLED_Pin|STLED_Pin|ErrLED2_Pin|ErrLED1_Pin;
  GPIO_InitStruct.Mode = GPIO_MODE_OUTPUT_PP;
  GPIO_InitStruct.Pull = GPIO_NOPULL;
  GPIO_InitStruct.Speed = GPIO_SPEED_FREQ_LOW;
  HAL_GPIO_Init(GPIOB, &GPIO_InitStruct);

  /*Configure GPIO pin : INPUT2_Pin */
  GPIO_InitStruct.Pin = INPUT2_Pin;
  GPIO_InitStruct.Mode = GPIO_MODE_INPUT;
  GPIO_InitStruct.Pull = GPIO_NOPULL;
  HAL_GPIO_Init(INPUT2_GPIO_Port, &GPIO_InitStruct);

  /*Configure GPIO pin : CEpin_Pin */
  GPIO_InitStruct.Pin = CEpin_Pin;
  GPIO_InitStruct.Mode = GPIO_MODE_OUTPUT_PP;
  GPIO_InitStruct.Pull = GPIO_NOPULL;
  GPIO_InitStruct.Speed = GPIO_SPEED_FREQ_LOW;
  HAL_GPIO_Init(CEpin_GPIO_Port, &GPIO_InitStruct);

  /*Configure GPIO pin : CSNpin_Pin */
  GPIO_InitStruct.Pin = CSNpin_Pin;
  GPIO_InitStruct.Mode = GPIO_MODE_OUTPUT_PP;
  GPIO_InitStruct.Pull = GPIO_NOPULL;
  GPIO_InitStruct.Speed = GPIO_SPEED_FREQ_LOW;
  HAL_GPIO_Init(CSNpin_GPIO_Port, &GPIO_InitStruct);

}

/* USER CODE BEGIN 4 */
#define NCoef 3
float IIR_FILTER_CH4(float NewSample) {
    float ACoef[NCoef+1] = {
        0.00449284531357574230,
        0.01347853594072722700,
        0.01347853594072722700,
        0.00449284531357574230
    };

    float BCoef[NCoef+1] = {
        1.00000000000000000000,
        -2.26464624784371530000,
        1.77609591136692750000,
        -0.47541748240108817000
    };

    static float y[NCoef+1]; //output samples
    static float x[NCoef+1]; //input samples
    int n;

    //shift the old samples
    for(n=NCoef; n>0; n--) {
       x[n] = x[n-1];
       y[n] = y[n-1];
    }

    //Calculate the new output
    x[0] = NewSample;
    y[0] = ACoef[0] * x[0];
    for(n=1; n<=NCoef; n++)
        y[0] += ACoef[n] * x[n] - BCoef[n] * y[n];

    return y[0];
}
float IIR_FILTER_CH5(float NewSample) {
    float ACoef[NCoef+1] = {
        0.00449284531357574230,
        0.01347853594072722700,
        0.01347853594072722700,
        0.00449284531357574230
    };

    float BCoef[NCoef+1] = {
        1.00000000000000000000,
        -2.26464624784371530000,
        1.77609591136692750000,
        -0.47541748240108817000
    };

    static float y[NCoef+1]; //output samples
    static float x[NCoef+1]; //input samples
    int n;

    //shift the old samples
    for(n=NCoef; n>0; n--) {
       x[n] = x[n-1];
       y[n] = y[n-1];
    }

    //Calculate the new output
    x[0] = NewSample;
    y[0] = ACoef[0] * x[0];
    for(n=1; n<=NCoef; n++)
        y[0] += ACoef[n] * x[n] - BCoef[n] * y[n];

    return y[0];
}
float IIR_FILTER_CH6(float NewSample) {
    float ACoef[NCoef+1] = {
        0.00449284531357574230,
        0.01347853594072722700,
        0.01347853594072722700,
        0.00449284531357574230
    };

    float BCoef[NCoef+1] = {
        1.00000000000000000000,
        -2.26464624784371530000,
        1.77609591136692750000,
        -0.47541748240108817000
    };

    static float y[NCoef+1]; //output samples
    static float x[NCoef+1]; //input samples
    int n;

    //shift the old samples
    for(n=NCoef; n>0; n--) {
       x[n] = x[n-1];
       y[n] = y[n-1];
    }

    //Calculate the new output
    x[0] = NewSample;
    y[0] = ACoef[0] * x[0];
    for(n=1; n<=NCoef; n++)
        y[0] += ACoef[n] * x[n] - BCoef[n] * y[n];

    return y[0];
}
float IIR_FILTER_CH7(float NewSample) {
    float ACoef[NCoef+1] = {
        0.00449284531357574230,
        0.01347853594072722700,
        0.01347853594072722700,
        0.00449284531357574230
    };

    float BCoef[NCoef+1] = {
        1.00000000000000000000,
        -2.26464624784371530000,
        1.77609591136692750000,
        -0.47541748240108817000
    };

    static float y[NCoef+1]; //output samples
    static float x[NCoef+1]; //input samples
    int n;

    //shift the old samples
    for(n=NCoef; n>0; n--) {
       x[n] = x[n-1];
       y[n] = y[n-1];
    }

    //Calculate the new output
    x[0] = NewSample;
    y[0] = ACoef[0] * x[0];
    for(n=1; n<=NCoef; n++)
        y[0] += ACoef[n] * x[n] - BCoef[n] * y[n];

    return y[0];
}
float IIR_FILTER_CH8(float NewSample) {
    float ACoef[NCoef+1] = {
        0.00449284531357574230,
        0.01347853594072722700,
        0.01347853594072722700,
        0.00449284531357574230
    };

    float BCoef[NCoef+1] = {
        1.00000000000000000000,
        -2.26464624784371530000,
        1.77609591136692750000,
        -0.47541748240108817000
    };

    static float y[NCoef+1]; //output samples
    static float x[NCoef+1]; //input samples
    int n;

    //shift the old samples
    for(n=NCoef; n>0; n--) {
       x[n] = x[n-1];
       y[n] = y[n-1];
    }

    //Calculate the new output
    x[0] = NewSample;
    y[0] = ACoef[0] * x[0];
    for(n=1; n<=NCoef; n++)
        y[0] += ACoef[n] * x[n] - BCoef[n] * y[n];

    return y[0];
}
float IIR_FILTER_CH9(float NewSample) {
    float ACoef[NCoef+1] = {
        0.00449284531357574230,
        0.01347853594072722700,
        0.01347853594072722700,
        0.00449284531357574230
    };

    float BCoef[NCoef+1] = {
        1.00000000000000000000,
        -2.26464624784371530000,
        1.77609591136692750000,
        -0.47541748240108817000
    };

    static float y[NCoef+1]; //output samples
    static float x[NCoef+1]; //input samples
    int n;

    //shift the old samples
    for(n=NCoef; n>0; n--) {
       x[n] = x[n-1];
       y[n] = y[n-1];
    }

    //Calculate the new output
    x[0] = NewSample;
    y[0] = ACoef[0] * x[0];
    for(n=1; n<=NCoef; n++)
        y[0] += ACoef[n] * x[n] - BCoef[n] * y[n];

    return y[0];
}
float IIR_FILTER_CH10(float NewSample) {
    float ACoef[NCoef+1] = {
        0.00449284531357574230,
        0.01347853594072722700,
        0.01347853594072722700,
        0.00449284531357574230
    };

    float BCoef[NCoef+1] = {
        1.00000000000000000000,
        -2.26464624784371530000,
        1.77609591136692750000,
        -0.47541748240108817000
    };

    static float y[NCoef+1]; //output samples
    static float x[NCoef+1]; //input samples
    int n;

    //shift the old samples
    for(n=NCoef; n>0; n--) {
       x[n] = x[n-1];
       y[n] = y[n-1];
    }

    //Calculate the new output
    x[0] = NewSample;
    y[0] = ACoef[0] * x[0];
    for(n=1; n<=NCoef; n++)
        y[0] += ACoef[n] * x[n] - BCoef[n] * y[n];

    return y[0];
}
float IIR_FILTER_CH11(float NewSample) {
    float ACoef[NCoef+1] = {
        0.00449284531357574230,
        0.01347853594072722700,
        0.01347853594072722700,
        0.00449284531357574230
    };

    float BCoef[NCoef+1] = {
        1.00000000000000000000,
        -2.26464624784371530000,
        1.77609591136692750000,
        -0.47541748240108817000
    };

    static float y[NCoef+1]; //output samples
    static float x[NCoef+1]; //input samples
    int n;

    //shift the old samples
    for(n=NCoef; n>0; n--) {
       x[n] = x[n-1];
       y[n] = y[n-1];
    }

    //Calculate the new output
    x[0] = NewSample;
    y[0] = ACoef[0] * x[0];
    for(n=1; n<=NCoef; n++)
        y[0] += ACoef[n] * x[n] - BCoef[n] * y[n];

    return y[0];
}
float IIR_FILTER_CH12(float NewSample) {
    float ACoef[NCoef+1] = {
        0.00449284531357574230,
        0.01347853594072722700,
        0.01347853594072722700,
        0.00449284531357574230
    };

    float BCoef[NCoef+1] = {
        1.00000000000000000000,
        -2.26464624784371530000,
        1.77609591136692750000,
        -0.47541748240108817000
    };

    static float y[NCoef+1]; //output samples
    static float x[NCoef+1]; //input samples
    int n;

    //shift the old samples
    for(n=NCoef; n>0; n--) {
       x[n] = x[n-1];
       y[n] = y[n-1];
    }

    //Calculate the new output
    x[0] = NewSample;
    y[0] = ACoef[0] * x[0];
    for(n=1; n<=NCoef; n++)
        y[0] += ACoef[n] * x[n] - BCoef[n] * y[n];

    return y[0];
}
float IIR_FILTER_CH13(float NewSample) {
    float ACoef[NCoef+1] = {
        0.00449284531357574230,
        0.01347853594072722700,
        0.01347853594072722700,
        0.00449284531357574230
    };

    float BCoef[NCoef+1] = {
        1.00000000000000000000,
        -2.26464624784371530000,
        1.77609591136692750000,
        -0.47541748240108817000
    };

    static float y[NCoef+1]; //output samples
    static float x[NCoef+1]; //input samples
    int n;

    //shift the old samples
    for(n=NCoef; n>0; n--) {
       x[n] = x[n-1];
       y[n] = y[n-1];
    }

    //Calculate the new output
    x[0] = NewSample;
    y[0] = ACoef[0] * x[0];
    for(n=1; n<=NCoef; n++)
        y[0] += ACoef[n] * x[n] - BCoef[n] * y[n];

    return y[0];
}
float IIR_FILTER_CH14(float NewSample) {
    float ACoef[NCoef+1] = {
        0.00449284531357574230,
        0.01347853594072722700,
        0.01347853594072722700,
        0.00449284531357574230
    };

    float BCoef[NCoef+1] = {
        1.00000000000000000000,
        -2.26464624784371530000,
        1.77609591136692750000,
        -0.47541748240108817000
    };

    static float y[NCoef+1]; //output samples
    static float x[NCoef+1]; //input samples
    int n;

    //shift the old samples
    for(n=NCoef; n>0; n--) {
       x[n] = x[n-1];
       y[n] = y[n-1];
    }

    //Calculate the new output
    x[0] = NewSample;
    y[0] = ACoef[0] * x[0];
    for(n=1; n<=NCoef; n++)
        y[0] += ACoef[n] * x[n] - BCoef[n] * y[n];

    return y[0];
}
float IIR_FILTER_CH15(float NewSample) {
    float ACoef[NCoef+1] = {
        0.00449284531357574230,
        0.01347853594072722700,
        0.01347853594072722700,
        0.00449284531357574230
    };

    float BCoef[NCoef+1] = {
        1.00000000000000000000,
        -2.26464624784371530000,
        1.77609591136692750000,
        -0.47541748240108817000
    };

    static float y[NCoef+1]; //output samples
    static float x[NCoef+1]; //input samples
    int n;

    //shift the old samples
    for(n=NCoef; n>0; n--) {
       x[n] = x[n-1];
       y[n] = y[n-1];
    }

    //Calculate the new output
    x[0] = NewSample;
    y[0] = ACoef[0] * x[0];
    for(n=1; n<=NCoef; n++)
        y[0] += ACoef[n] * x[n] - BCoef[n] * y[n];

    return y[0];
}
/* USER CODE END 4 */

void Error_Handler(void)
{
  __disable_irq();
  while (1)
  {
  }
}
